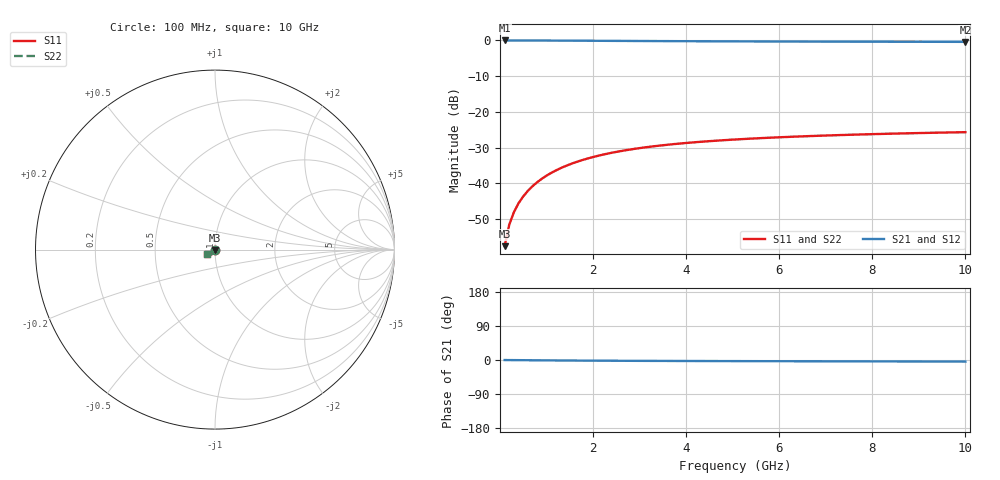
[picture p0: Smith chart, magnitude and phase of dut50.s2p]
! Touchstone file exported from HFSS 2024.1.0
!  File:  C:/UserFiles/LocalFiles/RDL_TSV_Batchsim/temp_TSV1_50_1779371968.aedt
!  Generated:  10:05:10 PM May 21, 2026
!  Design:  TSV1
!  Project:  temp_TSV1_50_1779371968
!  Setup:  Setup1
!  Solution:  Sweep
! Variables:
!  dtsv = 13.52um
!  hbump = 3um
!  htsv = 59.64um
!  lrdl = 252.1521522um
!  p = 40
!  p1 = 40.6um
!  t = 500um
!  trdl = 3um
!  wrdl = 24.89489489um
# GHz S MA R 50.000000
! Terminal data exported
! Port[1] = TSV22_T1
! Port[2] = TSV22_T2
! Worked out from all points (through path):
!   100 points, 100 MHz to 10 GHz, reference 50 ohm
!   highest |S21| = 0.00 dB at 100 MHz (marker M1); lowest = -0.4 dB at 10 GHz (marker M2)
!   lowest |S11| = -57.6 dB at 100 MHz (marker M3), VSWR 1.00, Z = 50 - j0.131 ohm
!   |S11| at or under -10 dB: start of sweep to end of sweep
!   |S22| runs from -57.6 to -25.7 dB; largest |S21 - S12| = 5e-15
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0.1  0.001313 -88.1  0.9999 -0.1  0.9999 -0.1  0.001313 -88.1
! Gamma 0 0 0 0
! Port Impedance 50 0 50 0
0.2  0.002626 -91.4  0.9998 -0.2  0.9998 -0.2  0.002626 -91.4
0.3  0.00394 -93.4  0.9996 -0.3  0.9996 -0.3  0.00394 -93.4
0.4  0.005247 -95.0  0.9994 -0.4  0.9994 -0.4  0.005247 -95.0
0.5  0.006542 -96.6  0.9991 -0.5  0.9991 -0.5  0.006542 -96.6
0.6  0.007824 -98.1  0.9987 -0.6  0.9987 -0.6  0.007824 -98.1
0.7  0.009089 -99.5  0.9983 -0.7  0.9983 -0.7  0.009089 -99.5
0.8  0.01033 -100.9  0.9979 -0.8  0.9979 -0.8  0.01033 -100.9
0.9  0.01156 -102.2  0.9974 -0.9  0.9974 -0.9  0.01156 -102.2
1.1  0.01394 -104.9  0.9962 -1.1  0.9962 -1.1  0.01394 -104.9
1.4  0.01731 -108.6  0.9942 -1.3  0.9942 -1.3  0.01731 -108.6
1.6  0.01942 -111.0  0.9928 -1.5  0.9928 -1.5  0.01942 -111.0
1.8  0.02141 -113.2  0.9913 -1.6  0.9913 -1.6  0.02141 -113.2
2.1  0.02417 -116.4  0.989 -1.8  0.989 -1.8  0.02417 -116.4
2.5  0.02747 -120.2  0.986 -2.0  0.986 -2.0  0.02747 -120.2
2.9  0.03036 -123.5  0.9831 -2.2  0.9831 -2.2  0.03036 -123.5
3.4  0.03348 -127.2  0.9797 -2.4  0.9797 -2.4  0.03348 -127.2
4.2  0.03755 -132.0  0.9749 -2.7  0.9749 -2.7  0.03755 -132.0
5.1  0.04114 -136.3  0.9703 -3.0  0.9703 -3.0  0.04114 -136.3
6.7  0.04587 -141.8  0.9639 -3.4  0.9639 -3.4  0.04587 -141.8
8.4  0.04943 -146.0  0.9591 -3.8  0.9591 -3.8  0.04943 -146.0
10  0.05191 -149.0  0.9557 -4.1  0.9557 -4.1  0.05191 -149.0
